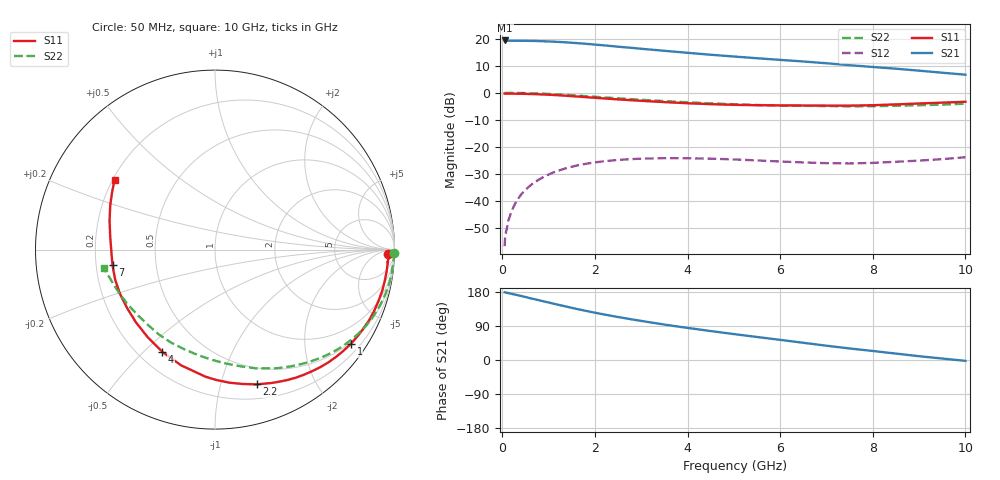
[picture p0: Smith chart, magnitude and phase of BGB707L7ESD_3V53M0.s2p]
!  Infineon Technologies AG
!  BGB707L7ESD RU919007 w#7 Sample Build #08493 Teil Nr. 3
!  Vce = 3.5V, Ic = 3.0mA
!  DATUM: 30.06.2009 10:56:48
# GHz  S  MA  R  50
!f  S11  S21  S12  S22
!GHz  Mag  Ang  Mag  Ang  Mag  Ang  Mag  Ang
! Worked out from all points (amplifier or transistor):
!   52 points, 50 MHz to 10 GHz, reference 50 ohm
!   highest |S21| = 19.4 dB at 60 MHz (marker M1)
!   |S21| within 3 dB of that: start of sweep to 2.949 GHz
!   unconditionally stable (mu >= 1): 6.795 GHz to end of sweep
!   at 130 MHz: K = 0.04, MSG = 33.3 dB, |S12| = -47.3 dB
!   at 1.4 GHz: K = 0.09, MSG = 23.3 dB, |S12| = -27.9 dB
!   at 10 GHz: K = 1.03, MAG = 14.2 dB, |S12| = -23.9 dB
!   lowest NFmin = 0.40 dB at 100 MHz
!   S11 on the Smith chart (normalised r, x): 50 MHz: 35, -28; 1 GHz: 0.45, -3.14; 2.2 GHz: 0.33, -1.30; 4 GHz: 0.30, -0.57; 7 GHz: 0.27, -0.07; 10 GHz: 0.21, +0.30
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0.05  0.9656 -1.6  9.172 178.7  0.001432 79.3  0.9975 -1.0
0.06  0.9667 -2.4  9.343 178.5  0.00202 85.1  0.9978 -1.3
0.08  0.9613 -2.6  9.182 177.7  0.002656 84.7  0.9979 -1.9
0.09  0.9675 -3.2  9.257 178.1  0.002832 84.7  0.998 -2.1
0.1  0.9645 -3.8  9.209 177.2  0.003144 84.6  0.9975 -2.4
0.13  0.9659 -4.6  9.263 176.6  0.004292 84.8  0.9974 -3.2
0.35  0.9602 -12.3  9.213 170.5  0.01111 81.5  0.9922 -8.4
0.7  0.945 -24.5  9.155 160.3  0.022 73.7  0.9758 -16.9
1  0.9213 -34.7  8.951 151.7  0.03053 66.8  0.9531 -23.9
1.4  0.8792 -48.2  8.589 140.5  0.04041 58.0  0.9134 -33.0
1.8  0.8314 -60.9  8.108 129.9  0.04815 49.9  0.8676 -41.4
2.2  0.7861 -72.8  7.576 120.1  0.0538 42.7  0.8215 -49.2
2.8  0.727 -89.3  6.804 107.1  0.05898 33.8  0.7605 -59.7
3.5  0.6719 -106.4  6.006 93.5  0.06137 25.6  0.7018 -70.6
4  0.6405 -117.3  5.516 84.7  0.06123 21.2  0.6658 -77.7
4.5  0.6156 -127.5  5.075 76.4  0.06006 17.9  0.6365 -84.8
5.5  0.5881 -146.4  4.373 60.7  0.05571 14.6  0.5939 -99.7
6.5  0.581 -163.2  3.807 45.4  0.05112 16.6  0.5734 -115.3
7  0.5776 -171.3  3.53 37.7  0.04955 19.4  0.567 -123.4
8.5  0.6093 164.6  2.796 16.9  0.05261 31.2  0.5741 -147.7
9  0.6334 157.2  2.572 10.0  0.05525 34.0  0.5874 -156.0
10  0.682 145.1  2.166 -2.3  0.06382 38.0  0.6276 -170.4
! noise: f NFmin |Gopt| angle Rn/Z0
0.1  0.4  0.63  2  0.21
0.45  0.47  0.63  4  0.21
0.9  0.57  0.65  13  0.2
1.8  0.64  0.51  35  0.2
5  1.07  0.41  77  0.19
10  1.82  0.45  -140  0.13
